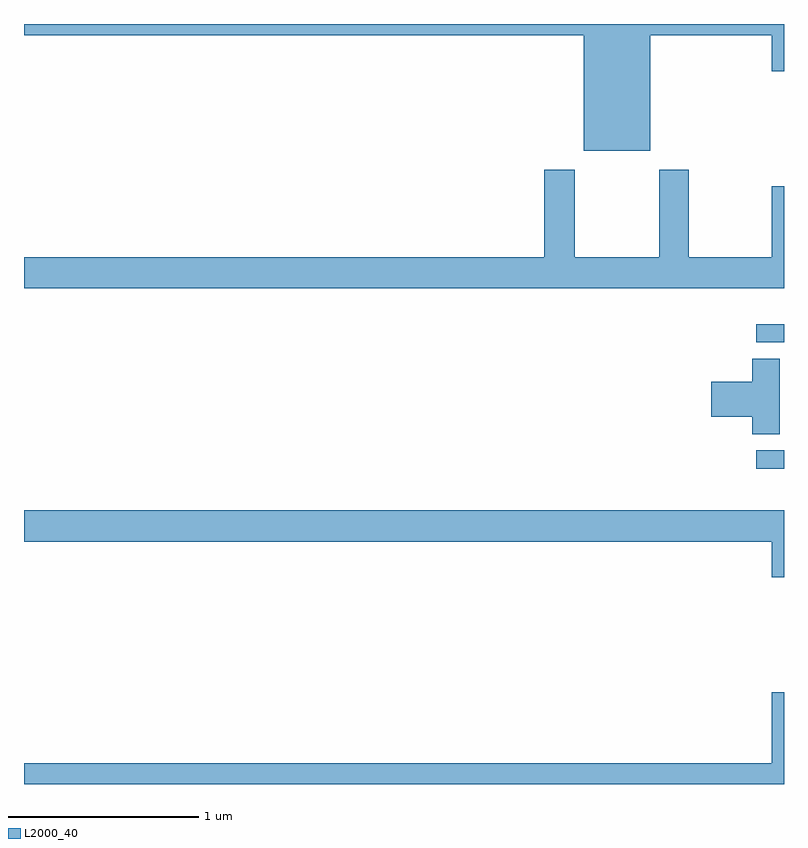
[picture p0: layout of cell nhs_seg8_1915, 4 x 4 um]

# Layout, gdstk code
import gdstk
lib = gdstk.Library(unit=1e-6, precision=1e-09)
def R(c, l, rs):  # rectangles x0, y0, x1, y1
    for r in rs: c.add(gdstk.rectangle(r[:2], r[2:], *l))
def P(c, l, *ps):  # polygons
    for p in ps: c.add(gdstk.Polygon(p, *l))
L2000_40 = (2000, 40)

nhs_seg8_1915 = lib.new_cell('nhs_seg8_1915')
R(nhs_seg8_1915, L2000_40, [(236.853,1107.559,237,1107.657), (236.853,1108.224,237,1108.32)])
P(nhs_seg8_1915, L2000_40, [(233,1109.84),(235.946,1109.84),(235.946,1109.234),(236.296,1109.234),(236.296,1109.84),(236.936,1109.84),(236.936,1109.652),(237,1109.652),(237,1109.9),(233,1109.9)],
  [(237,1109.047),(236.936,1109.047),(236.936,1108.672),(236.499,1108.672),(236.499,1109.134),(236.344,1109.134),(236.344,1108.672),(235.899,1108.672),(235.899,1109.134),(235.739,1109.134),(235.739,1108.672),(233,1108.672),(233,1108.508),(237,1108.508)],
  [(236.977,1108.139),(236.834,1108.139),(236.834,1108.016),(236.616,1108.016),(236.616,1107.833),(236.834,1107.833),(236.834,1107.742),(236.977,1107.742)],
  [(237,1107.34),(233,1107.34),(233,1107.176),(236.936,1107.176),(236.936,1106.988),(237,1106.988)],
  [(237,1106.383),(236.936,1106.383),(236.936,1106.008),(233,1106.008),(233,1105.9),(237,1105.9)])

lib.write_gds('nhs_seg8_1915.gds')
